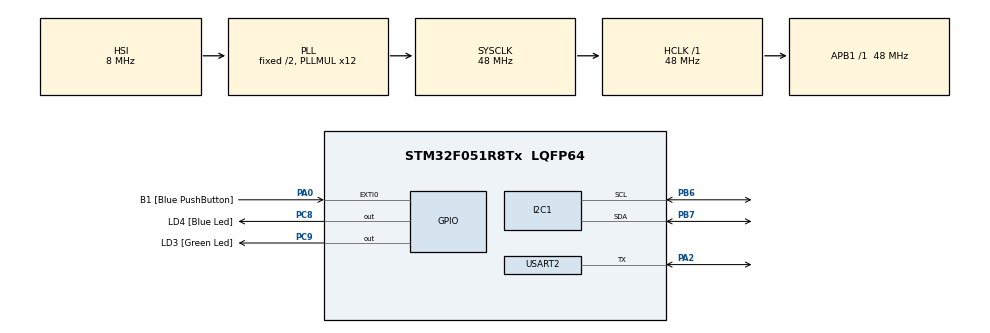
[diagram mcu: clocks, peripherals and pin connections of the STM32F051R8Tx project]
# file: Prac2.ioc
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Mcu.Family=STM32F0
Mcu.Name=STM32F051R8Tx
Mcu.Package=LQFP64
PA0.GPIO_Label=B1 [Blue PushButton]
PA0.GPIO_ModeDefaultEXTI=GPIO_MODE_EVT_RISING
PA0.Signal=GPXTI0
PA13.GPIO_Label=SWDIO
PA13.Mode=Serial_Wire
PA13.Signal=SYS_SWDIO
PA14.GPIO_Label=SWCLK
PA14.Mode=Serial_Wire
PA14.Signal=SYS_SWCLK
PA2.Mode=Half_duplex(single_wire_mode)
PA2.Signal=USART2_TX
PB6.Mode=I2C
PB6.Signal=I2C1_SCL
PB7.Mode=I2C
PB7.Signal=I2C1_SDA
PC8.GPIO_Label=LD4 [Blue Led]
PC8.Signal=GPIO_Output
PC9.GPIO_Label=LD3 [Green Led]
PC9.Signal=GPIO_Output
ProjectManager.HeapSize=0x200
ProjectManager.StackSize=0x400
ProjectManager.TargetToolchain=STM32CubeIDE
RCC.AHBFreq_Value=48000000
RCC.APB1Freq_Value=48000000
RCC.APB1TimFreq_Value=48000000
RCC.HCLKFreq_Value=48000000
RCC.PLLMUL=RCC_PLL_MUL12
RCC.SYSCLKFreq_VALUE=48000000
RCC.SYSCLKSource=RCC_SYSCLKSOURCE_PLLCLK
USART2.BaudRate=9600
USART2.VirtualMode-Half_duplex(single_wire_mode)=VM_ASYNC
board=STM32F0DISCOVERY

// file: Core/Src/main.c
/* USER CODE BEGIN Header */
/**
  ******************************************************************************
  * @file           : main.c
  * @brief          : Main program body
  ******************************************************************************
  * @attention
  *
  * Copyright (c) 2022 STMicroelectronics.
  * All rights reserved.
  *
  * This software is licensed under terms that can be found in the LICENSE file
  * in the root directory of this software component.
  * If no LICENSE file comes with this software, it is provided AS-IS.
  *
  ******************************************************************************
  */
/* USER CODE END Header */
#include "main.h"

/* USER CODE BEGIN Includes */
#include <string.h>
/* USER CODE END Includes */

/* USER CODE BEGIN PTD */
typedef struct {
	uint8_t seconds;
	uint8_t minutes;
	uint8_t hour;
	uint8_t dayofweek;
	uint8_t dayofmonth;
	uint8_t month;
	uint8_t year;
} TIME;

/* USER CODE END PTD */

/* USER CODE BEGIN PD */
#define DS3231_ADDRESS 0xD0
#define FIRST_REG 0x00
#define REG_SIZE 0x01

#define EPOCH_2022 1640988000
/* USER CODE END PD */

I2C_HandleTypeDef hi2c1;

UART_HandleTypeDef huart2;

/* USER CODE BEGIN PV */

TIME time;
char buffer[50];
/* USER CODE END PV */

void SystemClock_Config(void);
static void MX_GPIO_Init(void);
static void MX_I2C1_Init(void);
static void MX_USART2_UART_Init(void);
/* USER CODE BEGIN PFP */
void print(char message[]);
uint8_t decToBcd(int val);
int bcdToDec(uint8_t val);
void setTime (uint8_t sec, uint8_t min, uint8_t hour, uint8_t dow, uint8_t dom, uint8_t month, uint8_t year);
void getTime (void);
int epochFromTime(TIME time);
/* USER CODE END PFP */

int main(void)
{

  /* MCU Configuration--------------------------------------------------------*/

  /* Reset of all peripherals, Initializes the Flash interface and the Systick. */
  HAL_Init();

  /* Configure the system clock */
  SystemClock_Config();

  /* Initialize all configured peripherals */
  MX_GPIO_Init();
  MX_I2C1_Init();
  MX_USART2_UART_Init();
  /* USER CODE BEGIN 2 */

  print("Welcome to Practical 2: Introduction to BCOS – Delays and I2C\r\n");
  /* USER CODE END 2 */

  /* Infinite loop */
  while (1)
  {

    /* USER CODE BEGIN 3 */
	  getTime();
	  sprintf(buffer, "Time: %02d:%02d:%02d Epoch Time: %d\r", time.hour, time.minutes, time.seconds, epochFromTime(time));
	  print(buffer);
	  HAL_Delay(1000);
  }
  /* USER CODE END 3 */
}

void SystemClock_Config(void)
{
  RCC_OscInitTypeDef RCC_OscInitStruct = {0};
  RCC_ClkInitTypeDef RCC_ClkInitStruct = {0};
  RCC_PeriphCLKInitTypeDef PeriphClkInit = {0};

  /** Initializes the RCC Oscillators according to the specified parameters
  * in the RCC_OscInitTypeDef structure.
  */
  RCC_OscInitStruct.OscillatorType = RCC_OSCILLATORTYPE_HSI;
  RCC_OscInitStruct.HSIState = RCC_HSI_ON;
  RCC_OscInitStruct.HSICalibrationValue = RCC_HSICALIBRATION_DEFAULT;
  RCC_OscInitStruct.PLL.PLLState = RCC_PLL_ON;
  RCC_OscInitStruct.PLL.PLLSource = RCC_PLLSOURCE_HSI;
  RCC_OscInitStruct.PLL.PLLMUL = RCC_PLL_MUL12;
  RCC_OscInitStruct.PLL.PREDIV = RCC_PREDIV_DIV1;
  if (HAL_RCC_OscConfig(&RCC_OscInitStruct) != HAL_OK)
  {
    Error_Handler();
  }

  /** Initializes the CPU, AHB and APB buses clocks
  */
  RCC_ClkInitStruct.ClockType = RCC_CLOCKTYPE_HCLK|RCC_CLOCKTYPE_SYSCLK
                              |RCC_CLOCKTYPE_PCLK1;
  RCC_ClkInitStruct.SYSCLKSource = RCC_SYSCLKSOURCE_PLLCLK;
  RCC_ClkInitStruct.AHBCLKDivider = RCC_SYSCLK_DIV1;
  RCC_ClkInitStruct.APB1CLKDivider = RCC_HCLK_DIV1;

  if (HAL_RCC_ClockConfig(&RCC_ClkInitStruct, FLASH_LATENCY_1) != HAL_OK)
  {
    Error_Handler();
  }
  PeriphClkInit.PeriphClockSelection = RCC_PERIPHCLK_I2C1;
  PeriphClkInit.I2c1ClockSelection = RCC_I2C1CLKSOURCE_HSI;
  if (HAL_RCCEx_PeriphCLKConfig(&PeriphClkInit) != HAL_OK)
  {
    Error_Handler();
  }
}

static void MX_I2C1_Init(void)
{

  hi2c1.Instance = I2C1;
  hi2c1.Init.Timing = 0x2000090E;
  hi2c1.Init.OwnAddress1 = 0;
  hi2c1.Init.AddressingMode = I2C_ADDRESSINGMODE_7BIT;
  hi2c1.Init.DualAddressMode = I2C_DUALADDRESS_DISABLE;
  hi2c1.Init.OwnAddress2 = 0;
  hi2c1.Init.OwnAddress2Masks = I2C_OA2_NOMASK;
  hi2c1.Init.GeneralCallMode = I2C_GENERALCALL_DISABLE;
  hi2c1.Init.NoStretchMode = I2C_NOSTRETCH_DISABLE;
  if (HAL_I2C_Init(&hi2c1) != HAL_OK)
  {
    Error_Handler();
  }

  /** Configure Analogue filter
  */
  if (HAL_I2CEx_ConfigAnalogFilter(&hi2c1, I2C_ANALOGFILTER_ENABLE) != HAL_OK)
  {
    Error_Handler();
  }

  /** Configure Digital filter
  */
  if (HAL_I2CEx_ConfigDigitalFilter(&hi2c1, 0) != HAL_OK)
  {
    Error_Handler();
  }

}

static void MX_USART2_UART_Init(void)
{

  huart2.Instance = USART2;
  huart2.Init.BaudRate = 9600;
  huart2.Init.WordLength = UART_WORDLENGTH_8B;
  huart2.Init.StopBits = UART_STOPBITS_1;
  huart2.Init.Parity = UART_PARITY_NONE;
  huart2.Init.Mode = UART_MODE_TX_RX;
  huart2.Init.HwFlowCtl = UART_HWCONTROL_NONE;
  huart2.Init.OverSampling = UART_OVERSAMPLING_16;
  huart2.Init.OneBitSampling = UART_ONE_BIT_SAMPLE_DISABLE;
  huart2.AdvancedInit.AdvFeatureInit = UART_ADVFEATURE_NO_INIT;
  if (HAL_HalfDuplex_Init(&huart2) != HAL_OK)
  {
    Error_Handler();
  }

}

static void MX_GPIO_Init(void)
{
  GPIO_InitTypeDef GPIO_InitStruct = {0};

  /* GPIO Ports Clock Enable */
  __HAL_RCC_GPIOA_CLK_ENABLE();
  __HAL_RCC_GPIOC_CLK_ENABLE();
  __HAL_RCC_GPIOB_CLK_ENABLE();

  /*Configure GPIO pin Output Level */
  HAL_GPIO_WritePin(GPIOC, LD4_Pin|LD3_Pin, GPIO_PIN_RESET);

  /*Configure GPIO pin : B1_Pin */
  GPIO_InitStruct.Pin = B1_Pin;
  GPIO_InitStruct.Mode = GPIO_MODE_EVT_RISING;
  GPIO_InitStruct.Pull = GPIO_NOPULL;
  HAL_GPIO_Init(B1_GPIO_Port, &GPIO_InitStruct);

  /*Configure GPIO pins : LD4_Pin LD3_Pin */
  GPIO_InitStruct.Pin = LD4_Pin|LD3_Pin;
  GPIO_InitStruct.Mode = GPIO_MODE_OUTPUT_PP;
  GPIO_InitStruct.Pull = GPIO_NOPULL;
  GPIO_InitStruct.Speed = GPIO_SPEED_FREQ_LOW;
  HAL_GPIO_Init(GPIOC, &GPIO_InitStruct);

}

/* USER CODE BEGIN 4 */
void print(char message[]){
	HAL_UART_Transmit(&huart2, (uint8_t*)message, strlen(message), HAL_MAX_DELAY);
}

uint8_t decToBcd(int val)
{
	return (uint8_t)((val/10*16)+(val%10));
}

int bcdToDec(uint8_t val)
{
	return (int)((val/16*10)+val%16);
}

void setTime (uint8_t sec, uint8_t min, uint8_t hour, uint8_t dow, uint8_t dom, uint8_t month, uint8_t year)
{
	uint8_t set_time[7];
	set_time[0] = decToBcd(sec);
	set_time[1] = decToBcd(min);
	set_time[2] = decToBcd(hour);
	set_time[3] = decToBcd(dow);
	set_time[4] = decToBcd(dom);
	set_time[5] = decToBcd(month);
	set_time[6] = decToBcd(year);

	if(HAL_I2C_Mem_Write(&hi2c1, DS3231_ADDRESS, FIRST_REG, REG_SIZE, set_time, 7, 1000)){
		print("Something went wrong setting time\r\n");
	}
}

void getTime (void)
{
	uint8_t get_time[7];

	if(HAL_I2C_Mem_Read(&hi2c1, DS3231_ADDRESS, FIRST_REG, REG_SIZE, get_time, 7, 1000)){
		print("Something went wrong while getting time\r\n");
	}
	time.seconds = bcdToDec(get_time[0]);
	time.minutes = bcdToDec(get_time[1]);
	time.hour = bcdToDec(get_time[2]);
	time.dayofweek = bcdToDec(get_time[3]);
	time.dayofmonth = bcdToDec(get_time[4]);
	time.month = bcdToDec(get_time[5]);
	time.year = bcdToDec(get_time[6]);
}

int epochFromTime(TIME time){

	int years = time.year - 22;
	int days_num[] = {31, 28, 31, 30, 31, 30 ,31,31,30,31,30,31};
	int days = years*365;
	int months = time.month-1;
	for(int i = 0; i < months; i++)
	{
		days += days_num[i];
	}
	days += time.dayofmonth -1;

	int hours = days * 24 + time.hour;
	int minutes = hours*60 +time.minutes;
	int seconds = 60*minutes + time.seconds;

	return EPOCH_2022 + seconds;
}
/* USER CODE END 4 */

void Error_Handler(void)
{
  __disable_irq();
  while (1)
  {
  }
}
